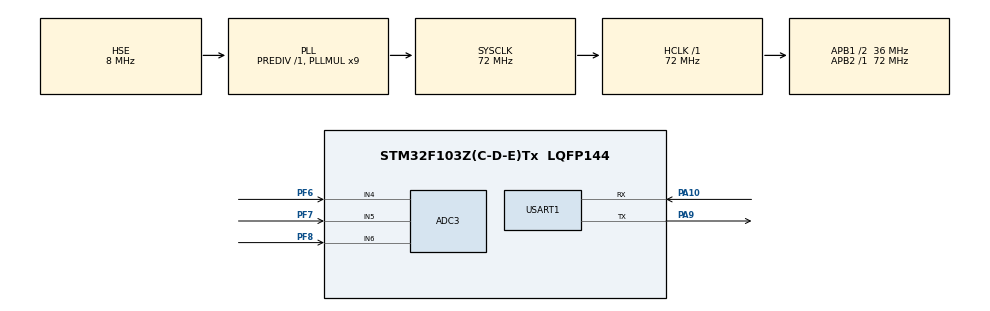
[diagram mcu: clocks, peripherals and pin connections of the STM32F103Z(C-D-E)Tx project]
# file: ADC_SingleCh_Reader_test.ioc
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ADC3.Channel-2\#ChannelRegularConversion=ADC_CHANNEL_6
ADC3.Channel-3\#ChannelRegularConversion=ADC_CHANNEL_5
ADC3.Channel-4\#ChannelRegularConversion=ADC_CHANNEL_4
ADC3.NbrOfConversion=3
ADC3.NbrOfConversionFlag=1
ADC3.Rank-2\#ChannelRegularConversion=1
ADC3.Rank-3\#ChannelRegularConversion=2
ADC3.Rank-4\#ChannelRegularConversion=3
ADC3.SamplingTime-2\#ChannelRegularConversion=ADC_SAMPLETIME_1CYCLE_5
ADC3.SamplingTime-3\#ChannelRegularConversion=ADC_SAMPLETIME_1CYCLE_5
ADC3.SamplingTime-4\#ChannelRegularConversion=ADC_SAMPLETIME_1CYCLE_5
Mcu.Family=STM32F1
Mcu.Name=STM32F103Z(C-D-E)Tx
Mcu.Package=LQFP144
NVIC.ADC3_IRQn=true\:0\:0\:false\:false\:true\:true\:true\:true
NVIC.PriorityGroup=NVIC_PRIORITYGROUP_4
OSC_IN.Mode=HSE-External-Oscillator
OSC_IN.Signal=RCC_OSC_IN
OSC_OUT.Mode=HSE-External-Oscillator
OSC_OUT.Signal=RCC_OSC_OUT
PA10.Mode=Asynchronous
PA10.Signal=USART1_RX
PA13.Mode=Serial_Wire
PA13.Signal=SYS_JTMS-SWDIO
PA14.Mode=Serial_Wire
PA14.Signal=SYS_JTCK-SWCLK
PA9.Mode=Asynchronous
PA9.Signal=USART1_TX
PF6.Mode=IN4
PF6.Signal=ADC3_IN4
PF7.Mode=IN5
PF7.Signal=ADC3_IN5
PF8.Mode=IN6
PF8.Signal=ADC3_IN6
ProjectManager.HeapSize=0x200
ProjectManager.StackSize=0x400
ProjectManager.TargetToolchain=MDK-ARM V5.32
RCC.ADCPresc=RCC_ADCPCLK2_DIV6
RCC.AHBFreq_Value=72000000
RCC.APB1CLKDivider=RCC_HCLK_DIV2
RCC.APB1Freq_Value=36000000
RCC.APB1TimFreq_Value=72000000
RCC.APB2Freq_Value=72000000
RCC.APB2TimFreq_Value=72000000
RCC.HCLKFreq_Value=72000000
RCC.PLLMUL=RCC_PLL_MUL9
RCC.PLLSourceVirtual=RCC_PLLSOURCE_HSE
RCC.SYSCLKFreq_VALUE=72000000
RCC.SYSCLKSource=RCC_SYSCLKSOURCE_PLLCLK
RCC.USBFreq_Value=72000000
USART1.Parity=PARITY_ODD
USART1.VirtualMode=VM_ASYNC
USART1.WordLength=WORDLENGTH_9B
board=custom

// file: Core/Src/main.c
/* USER CODE BEGIN Header */
/**
 ******************************************************************************
 * @file           : main.c
 * @brief          : Main program body
 ******************************************************************************
 * @attention
 *
 * Copyright (c) 2026 STMicroelectronics.
 * All rights reserved.
 *
 * This software is licensed under terms that can be found in the LICENSE file
 * in the root directory of this software component.
 * If no LICENSE file comes with this software, it is provided AS-IS.
 *
 ******************************************************************************
 */
/* USER CODE END Header */
#include "main.h"

/* USER CODE BEGIN Includes */
#include "BSP_Usart_Redir.h"
#include <stdbool.h>
/* USER CODE END Includes */

ADC_HandleTypeDef hadc3;

UART_HandleTypeDef huart1;

/* USER CODE BEGIN PV */
volatile bool g_adc_complete_flag = false;
/* USER CODE END PV */

void SystemClock_Config(void);
static void MX_GPIO_Init(void);
static void MX_ADC3_Init(void);
static void MX_USART1_UART_Init(void);
/* USER CODE BEGIN PFP */
static void ADC_Read_Block(ADC_HandleTypeDef *hadc,uint16_t *buffer);
static float ADC_Code_To_Voltage(uint16_t adc_code, float vref);
/* USER CODE END PFP */

int main(void)
{

  /* MCU Configuration--------------------------------------------------------*/

  /* Reset of all peripherals, Initializes the Flash interface and the Systick. */
  HAL_Init();

  /* Configure the system clock */
  SystemClock_Config();

  /* Initialize all configured peripherals */
  MX_GPIO_Init();
  MX_ADC3_Init();
  MX_USART1_UART_Init();
  /* USER CODE BEGIN 2 */
  BSP_Usart_Init(&huart1);
  uint16_t adc_buffer = 0;
  HAL_ADCEx_Calibration_Start(&hadc3);
  HAL_ADC_Start_IT(&hadc3);
  printf("ADC Test Start...\n");
  /* USER CODE END 2 */

  /* Infinite loop */
  /* USER CODE BEGIN WHILE */
  while (1)
  {
    if (g_adc_complete_flag)
    {
      adc_buffer = HAL_ADC_GetValue(&hadc3);
      printf("ADC Value: %d , 电压: %.2f", adc_buffer, ADC_Code_To_Voltage(adc_buffer, 3.3f));
      printf("\n");
      g_adc_complete_flag = false;
      HAL_ADC_Start_IT(&hadc3); // Restart ADC conversion
    }
    /* USER CODE END WHILE */

    /* USER CODE BEGIN 3 */
    // ADC_Read_Block(&hadc3, &adc_buffer);
    // printf("ADC Value: %d , 电压: %.2f", adc_buffer, ADC_Code_To_Voltage(adc_buffer, 3.3f));
    // printf("\n");
    // HAL_Delay(1000);
  }
  /* USER CODE END 3 */
}

void SystemClock_Config(void)
{
  RCC_OscInitTypeDef RCC_OscInitStruct = {0};
  RCC_ClkInitTypeDef RCC_ClkInitStruct = {0};
  RCC_PeriphCLKInitTypeDef PeriphClkInit = {0};

  /** Initializes the RCC Oscillators according to the specified parameters
  * in the RCC_OscInitTypeDef structure.
  */
  RCC_OscInitStruct.OscillatorType = RCC_OSCILLATORTYPE_HSE;
  RCC_OscInitStruct.HSEState = RCC_HSE_ON;
  RCC_OscInitStruct.HSEPredivValue = RCC_HSE_PREDIV_DIV1;
  RCC_OscInitStruct.HSIState = RCC_HSI_ON;
  RCC_OscInitStruct.PLL.PLLState = RCC_PLL_ON;
  RCC_OscInitStruct.PLL.PLLSource = RCC_PLLSOURCE_HSE;
  RCC_OscInitStruct.PLL.PLLMUL = RCC_PLL_MUL9;
  if (HAL_RCC_OscConfig(&RCC_OscInitStruct) != HAL_OK)
  {
    Error_Handler();
  }

  /** Initializes the CPU, AHB and APB buses clocks
  */
  RCC_ClkInitStruct.ClockType = RCC_CLOCKTYPE_HCLK|RCC_CLOCKTYPE_SYSCLK
                              |RCC_CLOCKTYPE_PCLK1|RCC_CLOCKTYPE_PCLK2;
  RCC_ClkInitStruct.SYSCLKSource = RCC_SYSCLKSOURCE_PLLCLK;
  RCC_ClkInitStruct.AHBCLKDivider = RCC_SYSCLK_DIV1;
  RCC_ClkInitStruct.APB1CLKDivider = RCC_HCLK_DIV2;
  RCC_ClkInitStruct.APB2CLKDivider = RCC_HCLK_DIV1;

  if (HAL_RCC_ClockConfig(&RCC_ClkInitStruct, FLASH_LATENCY_2) != HAL_OK)
  {
    Error_Handler();
  }
  PeriphClkInit.PeriphClockSelection = RCC_PERIPHCLK_ADC;
  PeriphClkInit.AdcClockSelection = RCC_ADCPCLK2_DIV6;
  if (HAL_RCCEx_PeriphCLKConfig(&PeriphClkInit) != HAL_OK)
  {
    Error_Handler();
  }
}

static void MX_ADC3_Init(void)
{

  ADC_ChannelConfTypeDef sConfig = {0};

  /** Common config
  */
  hadc3.Instance = ADC3;
  hadc3.Init.ScanConvMode = ADC_SCAN_DISABLE;
  hadc3.Init.ContinuousConvMode = DISABLE;
  hadc3.Init.DiscontinuousConvMode = DISABLE;
  hadc3.Init.ExternalTrigConv = ADC_SOFTWARE_START;
  hadc3.Init.DataAlign = ADC_DATAALIGN_RIGHT;
  hadc3.Init.NbrOfConversion = 1;
  if (HAL_ADC_Init(&hadc3) != HAL_OK)
  {
    Error_Handler();
  }

  /** Configure Regular Channel
  */
  sConfig.Channel = ADC_CHANNEL_4;
  sConfig.Rank = ADC_REGULAR_RANK_1;
  sConfig.SamplingTime = ADC_SAMPLETIME_1CYCLE_5;
  if (HAL_ADC_ConfigChannel(&hadc3, &sConfig) != HAL_OK)
  {
    Error_Handler();
  }

}

static void MX_USART1_UART_Init(void)
{

  huart1.Instance = USART1;
  huart1.Init.BaudRate = 115200;
  huart1.Init.WordLength = UART_WORDLENGTH_9B;
  huart1.Init.StopBits = UART_STOPBITS_1;
  huart1.Init.Parity = UART_PARITY_ODD;
  huart1.Init.Mode = UART_MODE_TX_RX;
  huart1.Init.HwFlowCtl = UART_HWCONTROL_NONE;
  huart1.Init.OverSampling = UART_OVERSAMPLING_16;
  if (HAL_UART_Init(&huart1) != HAL_OK)
  {
    Error_Handler();
  }

}

static void MX_GPIO_Init(void)
{

  /* GPIO Ports Clock Enable */
  __HAL_RCC_GPIOF_CLK_ENABLE();
  __HAL_RCC_GPIOA_CLK_ENABLE();

}

/* USER CODE BEGIN 4 */

static void ADC_Read_Block(ADC_HandleTypeDef *hadc, uint16_t *buffer)
{
  HAL_ADC_Start(hadc);
  if (HAL_ADC_PollForConversion(hadc, HAL_MAX_DELAY) == HAL_OK)
  {
    *buffer = HAL_ADC_GetValue(hadc);
  }
  HAL_ADC_Stop(hadc);
}

static float ADC_Code_To_Voltage(uint16_t adc_code, float vref)
{
  return (adc_code * vref) / 4095.0f; // Assuming 12-bit ADC resolution
}

void HAL_ADC_ConvCpltCallback(ADC_HandleTypeDef* hadc)
{
  if (hadc->Instance == ADC3)
  {
    g_adc_complete_flag = true;
  }
}

/* USER CODE END 4 */

void Error_Handler(void)
{
  __disable_irq();
  while (1)
  {
  }
}
